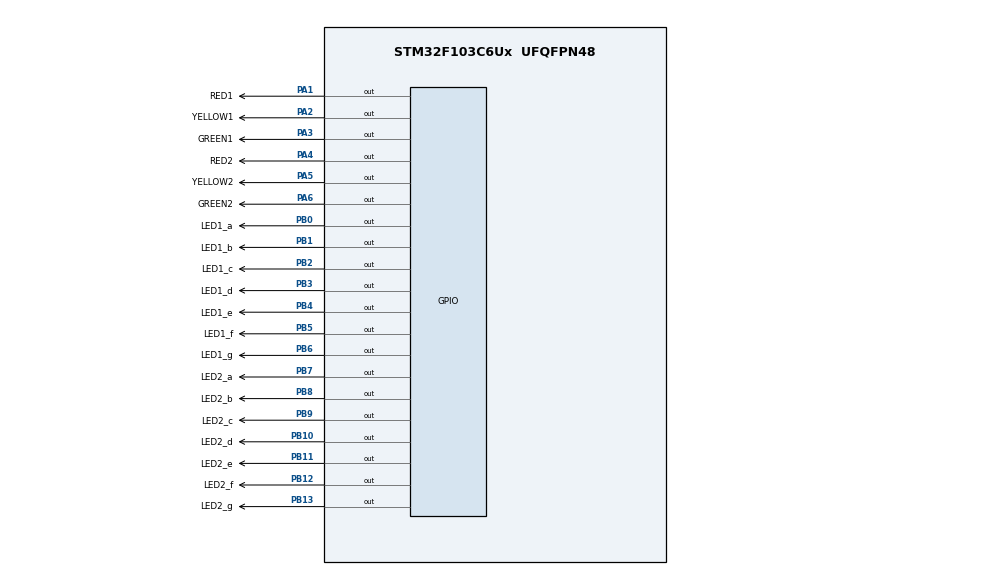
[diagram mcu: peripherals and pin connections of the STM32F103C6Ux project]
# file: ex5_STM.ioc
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Mcu.Family=STM32F1
Mcu.Name=STM32F103C6Ux
Mcu.Package=UFQFPN48
NVIC.PriorityGroup=NVIC_PRIORITYGROUP_4
PA1.GPIO_Label=RED1
PA1.Signal=GPIO_Output
PA2.GPIO_Label=YELLOW1
PA2.Signal=GPIO_Output
PA3.GPIO_Label=GREEN1
PA3.Signal=GPIO_Output
PA4.GPIO_Label=RED2
PA4.Signal=GPIO_Output
PA5.GPIO_Label=YELLOW2
PA5.Signal=GPIO_Output
PA6.GPIO_Label=GREEN2
PA6.Signal=GPIO_Output
PB0.GPIO_Label=LED1_a
PB0.Signal=GPIO_Output
PB1.GPIO_Label=LED1_b
PB1.Signal=GPIO_Output
PB10.GPIO_Label=LED2_d
PB10.Signal=GPIO_Output
PB11.GPIO_Label=LED2_e
PB11.Signal=GPIO_Output
PB12.GPIO_Label=LED2_f
PB12.Signal=GPIO_Output
PB13.GPIO_Label=LED2_g
PB13.Signal=GPIO_Output
PB2.GPIO_Label=LED1_c
PB2.Signal=GPIO_Output
PB3.GPIO_Label=LED1_d
PB3.Signal=GPIO_Output
PB4.GPIO_Label=LED1_e
PB4.Signal=GPIO_Output
PB5.GPIO_Label=LED1_f
PB5.Signal=GPIO_Output
PB6.GPIO_Label=LED1_g
PB6.Signal=GPIO_Output
PB7.GPIO_Label=LED2_a
PB7.Signal=GPIO_Output
PB8.GPIO_Label=LED2_b
PB8.Signal=GPIO_Output
PB9.GPIO_Label=LED2_c
PB9.Signal=GPIO_Output
ProjectManager.HeapSize=0x200
ProjectManager.StackSize=0x400
ProjectManager.TargetToolchain=STM32CubeIDE
RCC.APB1Freq_Value=8000000
RCC.APB2Freq_Value=8000000
VP_SYS_VS_ND.Mode=No_Debug
board=custom

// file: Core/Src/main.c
/* USER CODE BEGIN Header */
/**
  ******************************************************************************
  * @file           : main.c
  * @brief          : Main program body
  ******************************************************************************
  * @attention
  *
  * <h2><center>&copy; Copyright (c) 2022 STMicroelectronics.
  * All rights reserved.</center></h2>
  *
  * This software component is licensed by ST under BSD 3-Clause license,
  * the "License"; You may not use this file except in compliance with the
  * License. You may obtain a copy of the License at:
  *                        opensource.org/licenses/BSD-3-Clause
  *
  ******************************************************************************
  */
/* USER CODE END Header */
#include "main.h"

void SystemClock_Config(void);
static void MX_GPIO_Init(void);

/* USER CODE BEGIN 0 */
uint8_t segmentNumber[10] = {
        0x3f,  // 0
        0x06,  // 1
        0x5b,  // 2
        0x4f,  // 3
        0x66,  // 4
        0x6d,  // 5
        0x7d,  // 6
        0x07,  // 7
        0x7f,  // 8
        0x67   // 9
};

void display7SEGLED1(uint8_t number){
	HAL_GPIO_WritePin(LED1_a_GPIO_Port, LED1_a_Pin, ((number>>0)&0x01)^0x01);
	HAL_GPIO_WritePin(LED1_b_GPIO_Port, LED1_b_Pin, ((number>>1)&0x01)^0x01);
	HAL_GPIO_WritePin(LED1_c_GPIO_Port, LED1_c_Pin, ((number>>2)&0x01)^0x01);
	HAL_GPIO_WritePin(LED1_d_GPIO_Port, LED1_d_Pin, ((number>>3)&0x01)^0x01);
	HAL_GPIO_WritePin(LED1_e_GPIO_Port, LED1_e_Pin, ((number>>4)&0x01)^0x01);
	HAL_GPIO_WritePin(LED1_f_GPIO_Port, LED1_f_Pin, ((number>>5)&0x01)^0x01);
	HAL_GPIO_WritePin(LED1_g_GPIO_Port, LED1_g_Pin, ((number>>6)&0x01)^0x01);
}
void display7SEGLED2(uint8_t number){
	HAL_GPIO_WritePin(LED2_a_GPIO_Port, LED2_a_Pin, ((number>>0)&0x01)^0x01);
	HAL_GPIO_WritePin(LED2_b_GPIO_Port, LED2_b_Pin, ((number>>1)&0x01)^0x01);
	HAL_GPIO_WritePin(LED2_c_GPIO_Port, LED2_c_Pin, ((number>>2)&0x01)^0x01);
	HAL_GPIO_WritePin(LED2_d_GPIO_Port, LED2_d_Pin, ((number>>3)&0x01)^0x01);
	HAL_GPIO_WritePin(LED2_e_GPIO_Port, LED2_e_Pin, ((number>>4)&0x01)^0x01);
	HAL_GPIO_WritePin(LED2_f_GPIO_Port, LED2_f_Pin, ((number>>5)&0x01)^0x01);
	HAL_GPIO_WritePin(LED2_g_GPIO_Port, LED2_g_Pin, ((number>>6)&0x01)^0x01);
}

/* USER CODE END 0 */

int main(void)
{

  /* MCU Configuration--------------------------------------------------------*/

  /* Reset of all peripherals, Initializes the Flash interface and the Systick. */
  HAL_Init();

  /* Configure the system clock */
  SystemClock_Config();

  /* Initialize all configured peripherals */
  MX_GPIO_Init();
  /* USER CODE BEGIN 2 */
  HAL_GPIO_WritePin(RED1_GPIO_Port, RED1_Pin, SET);
  HAL_GPIO_WritePin(YELLOW1_GPIO_Port, YELLOW1_Pin, SET);
  HAL_GPIO_WritePin(GREEN1_GPIO_Port, GREEN1_Pin, SET);
  HAL_GPIO_WritePin(RED2_GPIO_Port, RED2_Pin, SET);
  HAL_GPIO_WritePin(YELLOW2_GPIO_Port, YELLOW2_Pin, SET);
  HAL_GPIO_WritePin(GREEN2_GPIO_Port, GREEN2_Pin, SET);
  /* USER CODE END 2 */

  /* Infinite loop */
  /* USER CODE BEGIN WHILE */
  int state = 1;
  while (1)
  {
	  switch (state){
	  	      	case 1:{
	  	      		HAL_GPIO_WritePin(GREEN1_GPIO_Port, GREEN1_Pin, RESET);
	  	      		HAL_GPIO_WritePin(RED2_GPIO_Port, RED2_Pin, RESET);
	  	      		for (int i=5; i>2 ; i--){
	  	      			display7SEGLED1(segmentNumber[i-2]); //3 2 1 on green
	  	      			display7SEGLED2(segmentNumber[i]); // 5 4 3 on red
	  	      			HAL_Delay(1000);
	  	      		}
	  	      		HAL_GPIO_WritePin(GREEN1_GPIO_Port, GREEN1_Pin, SET);
	  	      		state = 2;
	  	      		break;
	  	      	}
	  	      	case 2:{
	  	      		HAL_GPIO_WritePin(YELLOW1_GPIO_Port, YELLOW1_Pin, RESET);
	  	      		for (int i=2; i>0; i--){
	  	      			display7SEGLED1(segmentNumber[i]); //2 1 on yellow
	  	      			display7SEGLED2(segmentNumber[i]); //2 1 on red
	  	      			HAL_Delay(1000);
	  	      		}
	  	      		HAL_GPIO_WritePin(YELLOW1_GPIO_Port, YELLOW1_Pin, SET);
	  	      		HAL_GPIO_WritePin(RED2_GPIO_Port, RED2_Pin, SET);
	  	      		state = 3;
	  	      		break;
	  	      	}
	  	      	case 3:{
	  	      		HAL_GPIO_WritePin(RED1_GPIO_Port, RED1_Pin, RESET);
	  	      		HAL_GPIO_WritePin(GREEN2_GPIO_Port, GREEN2_Pin, RESET);
	  	      		for(int i=5; i>2; i--){
     			        display7SEGLED1(segmentNumber[i]); //5 4 3 on red
	  	      			display7SEGLED2(segmentNumber[i-2]); //3 2 1 on green
	  	      			HAL_Delay(1000);
	  	      		}
	  	      		HAL_GPIO_WritePin(GREEN2_GPIO_Port, GREEN2_Pin, SET);
	  	      		state = 4;
	  	      		break;
	  	      	}
	  	      	case 4:{
	  	      		HAL_GPIO_WritePin(YELLOW2_GPIO_Port, YELLOW2_Pin, RESET);
	  	      		for(int i=2; i>0; i--){
	  	      			display7SEGLED1(segmentNumber[i]); //2 1 on red
	  	      			display7SEGLED2(segmentNumber[i]); //2 1 on yellow
	  	      			HAL_Delay(1000);
	  	      		}
	  	      		HAL_GPIO_WritePin(YELLOW2_GPIO_Port, YELLOW2_Pin, SET);
	  	      		HAL_GPIO_WritePin(RED1_GPIO_Port, RED1_Pin, SET);
	  	      		state = 1;
	  	      		break;
	  	      	}
	  	  }
    /* USER CODE END WHILE */

  }
}

void SystemClock_Config(void)
{
  RCC_OscInitTypeDef RCC_OscInitStruct = {0};
  RCC_ClkInitTypeDef RCC_ClkInitStruct = {0};

  /** Initializes the RCC Oscillators according to the specified parameters
  * in the RCC_OscInitTypeDef structure.
  */
  RCC_OscInitStruct.OscillatorType = RCC_OSCILLATORTYPE_HSI;
  RCC_OscInitStruct.HSIState = RCC_HSI_ON;
  RCC_OscInitStruct.HSICalibrationValue = RCC_HSICALIBRATION_DEFAULT;
  RCC_OscInitStruct.PLL.PLLState = RCC_PLL_NONE;
  if (HAL_RCC_OscConfig(&RCC_OscInitStruct) != HAL_OK)
  {
    Error_Handler();
  }
  /** Initializes the CPU, AHB and APB buses clocks
  */
  RCC_ClkInitStruct.ClockType = RCC_CLOCKTYPE_HCLK|RCC_CLOCKTYPE_SYSCLK
                              |RCC_CLOCKTYPE_PCLK1|RCC_CLOCKTYPE_PCLK2;
  RCC_ClkInitStruct.SYSCLKSource = RCC_SYSCLKSOURCE_HSI;
  RCC_ClkInitStruct.AHBCLKDivider = RCC_SYSCLK_DIV1;
  RCC_ClkInitStruct.APB1CLKDivider = RCC_HCLK_DIV1;
  RCC_ClkInitStruct.APB2CLKDivider = RCC_HCLK_DIV1;

  if (HAL_RCC_ClockConfig(&RCC_ClkInitStruct, FLASH_LATENCY_0) != HAL_OK)
  {
    Error_Handler();
  }
}

static void MX_GPIO_Init(void)
{
  GPIO_InitTypeDef GPIO_InitStruct = {0};

  /* GPIO Ports Clock Enable */
  __HAL_RCC_GPIOA_CLK_ENABLE();
  __HAL_RCC_GPIOB_CLK_ENABLE();

  /*Configure GPIO pin Output Level */
  HAL_GPIO_WritePin(GPIOA, RED1_Pin|YELLOW1_Pin|GREEN1_Pin|RED2_Pin
                          |YELLOW2_Pin|GREEN2_Pin, GPIO_PIN_RESET);

  /*Configure GPIO pin Output Level */
  HAL_GPIO_WritePin(GPIOB, LED1_a_Pin|LED1_b_Pin|LED1_c_Pin|LED2_d_Pin
                          |LED2_e_Pin|LED2_f_Pin|LED2_g_Pin|LED1_d_Pin
                          |LED1_e_Pin|LED1_f_Pin|LED1_g_Pin|LED2_a_Pin
                          |LED2_b_Pin|LED2_c_Pin, GPIO_PIN_RESET);

  /*Configure GPIO pins : RED1_Pin YELLOW1_Pin GREEN1_Pin RED2_Pin
                           YELLOW2_Pin GREEN2_Pin */
  GPIO_InitStruct.Pin = RED1_Pin|YELLOW1_Pin|GREEN1_Pin|RED2_Pin
                          |YELLOW2_Pin|GREEN2_Pin;
  GPIO_InitStruct.Mode = GPIO_MODE_OUTPUT_PP;
  GPIO_InitStruct.Pull = GPIO_NOPULL;
  GPIO_InitStruct.Speed = GPIO_SPEED_FREQ_LOW;
  HAL_GPIO_Init(GPIOA, &GPIO_InitStruct);

  /*Configure GPIO pins : LED1_a_Pin LED1_b_Pin LED1_c_Pin LED2_d_Pin
                           LED2_e_Pin LED2_f_Pin LED2_g_Pin LED1_d_Pin
                           LED1_e_Pin LED1_f_Pin LED1_g_Pin LED2_a_Pin
                           LED2_b_Pin LED2_c_Pin */
  GPIO_InitStruct.Pin = LED1_a_Pin|LED1_b_Pin|LED1_c_Pin|LED2_d_Pin
                          |LED2_e_Pin|LED2_f_Pin|LED2_g_Pin|LED1_d_Pin
                          |LED1_e_Pin|LED1_f_Pin|LED1_g_Pin|LED2_a_Pin
                          |LED2_b_Pin|LED2_c_Pin;
  GPIO_InitStruct.Mode = GPIO_MODE_OUTPUT_PP;
  GPIO_InitStruct.Pull = GPIO_NOPULL;
  GPIO_InitStruct.Speed = GPIO_SPEED_FREQ_LOW;
  HAL_GPIO_Init(GPIOB, &GPIO_InitStruct);

}

void Error_Handler(void)
{
  __disable_irq();
  while (1)
  {
  }
}

/************************ (C) COPYRIGHT STMicroelectronics *****END OF FILE****/
